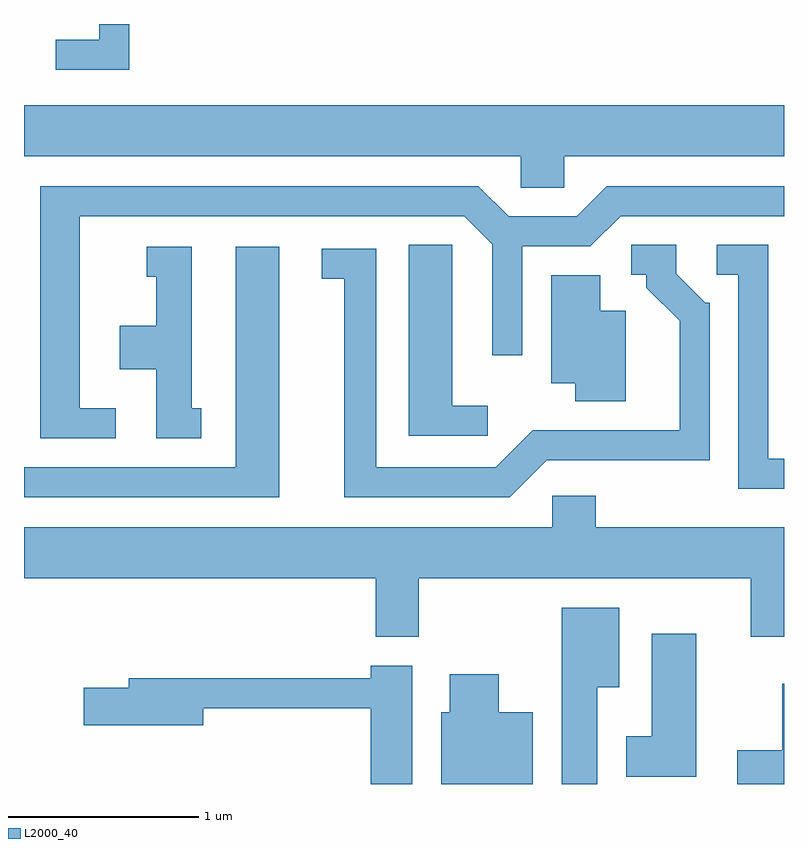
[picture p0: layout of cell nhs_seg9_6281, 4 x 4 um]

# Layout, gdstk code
import gdstk
lib = gdstk.Library(unit=1e-6, precision=1e-09)
def P(c, l, *ps):  # polygons
    for p in ps: c.add(gdstk.Polygon(p, *l))
L2000_40 = (2000, 40)

nhs_seg9_6281 = lib.new_cell('nhs_seg9_6281')
P(nhs_seg9_6281, L2000_40, [(370.164,2072.432),(370.006,2072.432),(370.006,2072.349),(369.778,2072.349),(369.778,2072.191),(370.164,2072.191)],
  [(372.454,2071.736),(373.611,2071.736),(373.611,2072.004),(369.611,2072.004),(369.611,2071.736),(372.226,2071.736),(372.226,2071.571),(372.454,2071.571)],
  [(370.093,2070.409),(369.904,2070.409),(369.904,2071.421),(371.929,2071.421),(372.076,2071.274),(372.076,2070.688),(372.234,2070.688),(372.234,2071.261),(372.592,2071.261),(372.752,2071.421),(373.611,2071.421),(373.611,2071.579),(372.679,2071.579),(372.519,2071.419),(372.162,2071.419),(372.002,2071.579),(369.696,2071.579),(369.696,2070.251),(370.093,2070.251)],
  [(373.611,2070.144),(373.529,2070.144),(373.529,2071.269),(373.258,2071.269),(373.258,2071.111),(373.371,2071.111),(373.371,2069.986),(373.611,2069.986)],
  [(372.362,2070.136),(373.219,2070.136),(373.219,2070.964),(373.197,2070.964),(373.044,2071.117),(373.044,2071.269),(372.808,2071.269),(372.808,2071.111),(372.886,2071.111),(372.886,2071.044),(373.061,2070.869),(373.061,2070.294),(372.289,2070.294),(372.094,2070.099),(371.464,2070.099),(371.464,2071.249),(371.178,2071.249),(371.178,2071.091),(371.296,2071.091),(371.296,2069.941),(372.167,2069.941)],
  [(372.053,2070.424),(371.864,2070.424),(371.864,2071.269),(371.636,2071.269),(371.636,2070.266),(372.053,2070.266)],
  [(370.954,2071.259),(370.726,2071.259),(370.726,2070.099),(369.611,2070.099),(369.611,2069.941),(370.954,2069.941)],
  [(370.543,2070.409),(370.494,2070.409),(370.494,2071.259),(370.258,2071.259),(370.258,2071.101),(370.306,2071.101),(370.306,2070.844),(370.116,2070.844),(370.116,2070.616),(370.306,2070.616),(370.306,2070.251),(370.543,2070.251)],
  [(372.779,2070.924),(372.644,2070.924),(372.644,2071.109),(372.386,2071.109),(372.386,2070.541),(372.511,2070.541),(372.511,2070.446),(372.779,2070.446)],
  [(371.689,2069.516),(373.436,2069.516),(373.436,2069.206),(373.611,2069.206),(373.611,2069.784),(372.619,2069.784),(372.619,2069.949),(372.391,2069.949),(372.391,2069.784),(369.611,2069.784),(369.611,2069.516),(371.461,2069.516),(371.461,2069.206),(371.689,2069.206)],
  [(372.629,2068.941),(372.744,2068.941),(372.744,2069.359),(372.441,2069.359),(372.441,2068.432),(372.629,2068.432)],
  [(373.149,2069.224),(372.916,2069.224),(372.916,2068.684),(372.781,2068.684),(372.781,2068.471),(373.149,2068.471)],
  [(371.654,2069.054),(371.436,2069.054),(371.436,2068.989),(370.161,2068.989),(370.161,2068.939),(369.926,2068.939),(369.926,2068.741),(370.554,2068.741),(370.554,2068.831),(371.436,2068.831),(371.436,2068.432),(371.654,2068.432)],
  [(372.289,2068.809),(372.109,2068.809),(372.109,2069.009),(371.851,2069.009),(371.851,2068.809),(371.806,2068.809),(371.806,2068.432),(372.289,2068.432)],
  [(373.611,2068.959),(373.601,2068.959),(373.601,2068.609),(373.366,2068.609),(373.366,2068.432),(373.611,2068.432)])

lib.write_gds('nhs_seg9_6281.gds')
